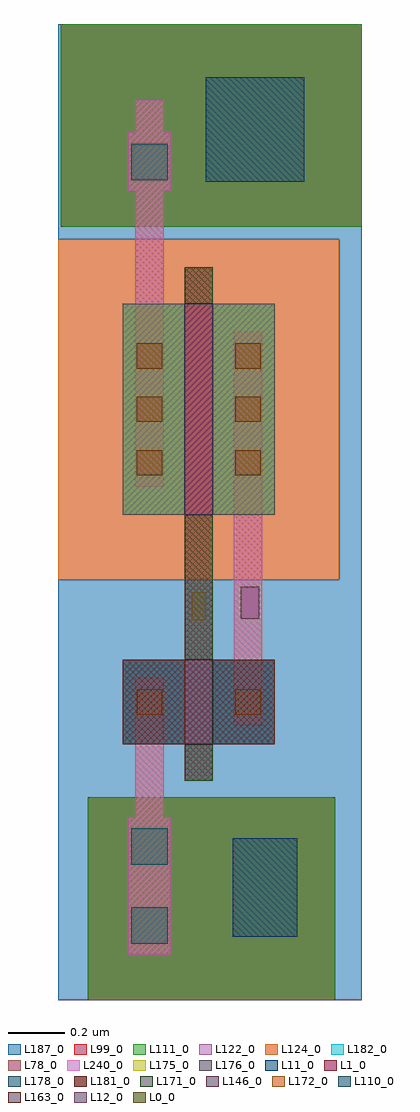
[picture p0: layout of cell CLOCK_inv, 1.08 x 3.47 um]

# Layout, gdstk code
import gdstk
lib = gdstk.Library(unit=1e-6, precision=1e-09)
def R(c, l, rs):  # rectangles x0, y0, x1, y1
    for r in rs: c.add(gdstk.rectangle(r[:2], r[2:], *l))
def A(c, l, x, y, w, h, nx, ny, dx, dy):  # array of equal rectangles
    R(c, l, [(x+i*dx, y+j*dy, x+i*dx+w, y+j*dy+h) for i in range(nx) for j in range(ny)])
def P(c, l, *ps):  # polygons
    for p in ps: c.add(gdstk.Polygon(p, *l))
L0_0 = (0, 0)
L1_0 = (1, 0)
L11_0 = (11, 0)
L12_0 = (12, 0)
L78_0 = (78, 0)
L99_0 = (99, 0)
L110_0 = (110, 0)
L111_0 = (111, 0)
L122_0 = (122, 0)
L124_0 = (124, 0)
L146_0 = (146, 0)
L163_0 = (163, 0)
L171_0 = (171, 0)
L172_0 = (172, 0)
L175_0 = (175, 0)
L176_0 = (176, 0)
L178_0 = (178, 0)
L181_0 = (181, 0)
L182_0 = (182, 0)
L187_0 = (187, 0)
L240_0 = (240, 0)

clock_inv = lib.new_cell('CLOCK_inv')
R(clock_inv, L0_0, [(-4.965,2.905,-4.915,3.005)])
R(clock_inv, L1_0, [(-4.99,2.335,-4.89,4.16)])
R(clock_inv, L11_0, [(-4.82,1.78,-4.59,2.13), (-4.915,4.465,-4.565,4.835)])
R(clock_inv, L12_0, [(-4.79,2.91,-4.725,3.025)])
R(clock_inv, L78_0, [(-4.815,2.53,-4.715,3.93)])
P(clock_inv, L78_0, [(-5.065,2.7),(-5.065,2.205),(-5.04,2.205),(-5.04,1.715),(-5.19,1.715),(-5.19,2.205),(-5.165,2.205),(-5.165,2.7)],
  [(-5.065,4.755),(-5.065,4.64),(-5.04,4.64),(-5.04,4.43),(-5.065,4.43),(-5.065,3.38),(-5.165,3.38),(-5.165,4.43),(-5.19,4.43),(-5.19,4.64),(-5.165,4.64),(-5.165,4.755)])
R(clock_inv, L99_0, [(-5.335,1.555,-4.455,2.275), (-5.43,4.305,-4.36,5.025)])
R(clock_inv, L110_0, [(-5.18,1.755,-5.05,1.885), (-5.18,2.035,-5.05,2.165), (-5.18,4.47,-5.05,4.6)])
R(clock_inv, L111_0, [(-5.335,1.555,-4.455,2.275), (-5.43,4.305,-4.36,5.025)])
R(clock_inv, L122_0, [(-5.44,3.05,-4.44,4.26)])
R(clock_inv, L124_0, [(-5.44,3.05,-4.44,4.26)])
R(clock_inv, L146_0, [(-4.99,3.28,-4.89,4.03)])
R(clock_inv, L163_0, [(-4.99,2.465,-4.89,2.765)])
R(clock_inv, L171_0, [(-4.99,2.335,-4.89,2.465), (-4.99,2.765,-4.89,3.28), (-4.99,4.03,-4.89,4.16)])
A(clock_inv, L172_0, -5.16, 3.42, 0.09, 0.09, 1, 3, 0, 0.19)
A(clock_inv, L172_0, -4.81, 3.42, 0.09, 0.09, 1, 3, 0, 0.19)
R(clock_inv, L172_0, [(-5.16,2.57,-5.07,2.66), (-4.81,2.57,-4.72,2.66)])
R(clock_inv, L175_0, [(-5.21,3.28,-4.99,4.03), (-4.89,3.28,-4.67,4.03)])
R(clock_inv, L176_0, [(-5.21,3.28,-4.99,4.03), (-4.89,3.28,-4.67,4.03)])
R(clock_inv, L178_0, [(-5.21,2.465,-4.99,2.765), (-4.89,2.465,-4.67,2.765)])
R(clock_inv, L181_0, [(-5.21,2.465,-4.99,2.765), (-4.89,2.465,-4.67,2.765)])
R(clock_inv, L182_0, [(-5.21,2.465,-4.99,2.765), (-4.89,2.465,-4.67,2.765), (-5.21,3.28,-4.99,4.03), (-4.89,3.28,-4.67,4.03)])
P(clock_inv, L187_0, [(-4.36,5.025),(-4.36,1.555),(-5.44,1.555),(-5.44,3.05),(-4.44,3.05),(-4.44,4.26),(-5.44,4.26),(-5.44,5.025)])
R(clock_inv, L240_0, [(-4.815,2.53,-4.715,3.93)])
P(clock_inv, L240_0, [(-5.065,2.7),(-5.065,2.205),(-5.04,2.205),(-5.04,1.715),(-5.19,1.715),(-5.19,2.205),(-5.165,2.205),(-5.165,2.7)],
  [(-5.065,4.755),(-5.065,4.64),(-5.04,4.64),(-5.04,4.43),(-5.065,4.43),(-5.065,3.38),(-5.165,3.38),(-5.165,4.43),(-5.19,4.43),(-5.19,4.64),(-5.165,4.64),(-5.165,4.755)])

lib.write_gds('CLOCK_inv.gds')
